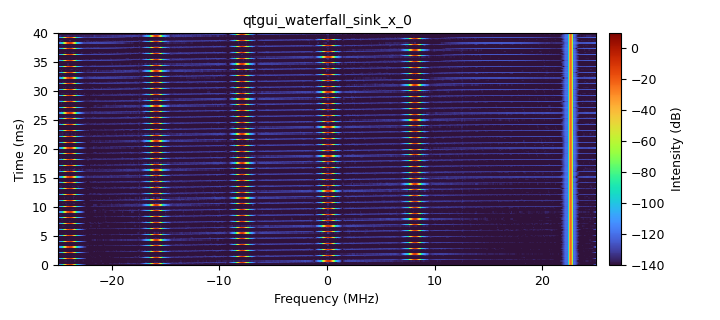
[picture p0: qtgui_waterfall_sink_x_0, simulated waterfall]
options:
  parameters:
    author: Levi Farinas
    generate_options: qt_gui
    id: fmcw
    output_language: python
    run_options: run
    title: Chirp with Pilot Tone
  states: {}

blocks:
- name: c
  id: variable
  parameters:
    value: 3e8
  states: {}
- name: chirp_bw
  id: variable
  parameters:
    value: .8 * (sdr_fs)
  states: {}
- name: pi
  id: variable
  parameters:
    value: '3.141592653'
  states: {}
- name: pilot_bb_freq
  id: variable
  parameters:
    value: (sdr_fs/2) * .9
  states: {}
- name: postchirp_buffer
  id: variable
  parameters:
    value: int(1e3)
  states: {}
- name: prechirp_buffer
  id: variable
  parameters:
    value: int(10e3)
  states: {}
- name: analog_frequency_modulator_fc_0
  id: analog_frequency_modulator_fc
  parameters:
    sensitivity: (2*3.14159*chirp_bw)/(sdr_fs)
  states: {}
- name: analog_sig_source_x_0
  id: analog_sig_source_x
  parameters:
    amp: '1'
    freq: 1/bb_chirp_period
    maxoutbuf: '100'
    offset: pi
    phase: pi
    samp_rate: sdr_fs
    type: float
    waveform: analog.GR_SAW_WAVE
  states: {}
- name: analog_sig_source_x_1
  id: analog_sig_source_x
  parameters:
    amp: pilot_amplitude
    freq: pilot_bb_freq
    offset: '0'
    phase: '0'
    samp_rate: sdr_fs
    type: complex
    waveform: analog.GR_COS_WAVE
  states: {}
- name: bb_chirp_period
  id: parameter
  parameters:
    type: eng_float
    value: '1e-3'
  states: {}
- name: blocks_add_xx_0
  id: blocks_add_xx
  parameters:
    type: complex
  states: {}
- name: blocks_complex_to_float_0
  id: blocks_complex_to_float
  parameters: {}
  states: {}
- name: blocks_complex_to_float_0_0
  id: blocks_complex_to_float
  parameters: {}
  states: {state: disabled}
- name: blocks_head_1
  id: blocks_head
  parameters:
    num_items: int(prechirp_buffer + sdr_fs * bb_chirp_period + postchirp_buffer)
    type: complex
  states: {state: disabled}
- name: blocks_throttle2_0
  id: blocks_throttle2
  parameters:
    samples_per_second: sdr_fs
    type: float
  states: {}
- name: blocks_wavfile_sink_0
  id: blocks_wavfile_sink
  parameters:
    bits_per_sample1: FORMAT_PCM_16
    file: /Users/levifarinas/Documents/SAR Research/Stitched/tx_chirp_{subchirp_idx}.wav
    format: FORMAT_WAV
    nchan: '2'
    samp_rate: sdr_fs
  states: {}
- name: blocks_wavfile_sink_0_0
  id: blocks_wavfile_sink
  parameters:
    bits_per_sample1: FORMAT_PCM_16
    file: /Users/levifarinas/Documents/SAR Research/Stitched/rx_chirp_{subchirp_idx}.wav
    format: FORMAT_WAV
    nchan: '2'
    samp_rate: sdr_fs
  states: {state: disabled}
- name: center_freq
  id: parameter
  parameters:
    type: eng_float
    value: 2.5e9
  states: {}
- name: pilot_amplitude
  id: parameter
  parameters:
    type: eng_float
    value: '.2'
  states: {}
- name: qtgui_waterfall_sink_x_0
  id: qtgui_waterfall_sink_x
  parameters:
    bw: sdr_fs
    fc: '0'
    fftsize: '1024'
    type: complex
    update_time: '0.01'
  states: {}
- name: rx_gain
  id: parameter
  parameters:
    type: intx
    value: '60'
  states: {}
- name: sdr_fs
  id: parameter
  parameters:
    type: intx
    value: int(50e6)
  states: {}
- name: subchirp_idx
  id: parameter
  parameters:
    type: intx
    value: '0'
  states: {}
- name: tx_gain
  id: parameter
  parameters:
    type: intx
    value: '50'
  states: {}
- name: uhd_usrp_sink_0
  id: uhd_usrp_sink
  parameters:
    ant0: '"TX/RX"'
    center_freq0: center_freq
    dev_addr: usrp_string
    gain0: tx_gain
    samp_rate: sdr_fs
    sync: sync
    type: fc32
  states: {state: disabled}
- name: uhd_usrp_source_0
  id: uhd_usrp_source
  parameters:
    ant0: '"RX2"'
    center_freq0: center_freq
    gain0: rx_gain
    samp_rate: sdr_fs
    sync: sync
    type: fc32
  states: {state: disabled}
- name: usrp_string
  id: parameter
  parameters:
    type: str
    value: '""'
  states: {}

connections:
- [analog_frequency_modulator_fc_0, '0', blocks_add_xx_0, '0']
- [analog_sig_source_x_0, '0', blocks_throttle2_0, '0']
- [analog_sig_source_x_1, '0', blocks_add_xx_0, '1']
- [blocks_add_xx_0, '0', blocks_complex_to_float_0, '0']
- [blocks_add_xx_0, '0', qtgui_waterfall_sink_x_0, '0']
- [blocks_add_xx_0, '0', uhd_usrp_sink_0, '0']
- [blocks_complex_to_float_0, '0', blocks_wavfile_sink_0, '0']
- [blocks_complex_to_float_0, '1', blocks_wavfile_sink_0, '1']
- [blocks_complex_to_float_0_0, '0', blocks_wavfile_sink_0_0, '0']
- [blocks_complex_to_float_0_0, '1', blocks_wavfile_sink_0_0, '1']
- [blocks_head_1, '0', blocks_complex_to_float_0_0, '0']
- [blocks_throttle2_0, '0', analog_frequency_modulator_fc_0, '0']
- [uhd_usrp_source_0, '0', blocks_head_1, '0']

metadata:
  file_format: 1
  grc_version: 3.10.12.0
